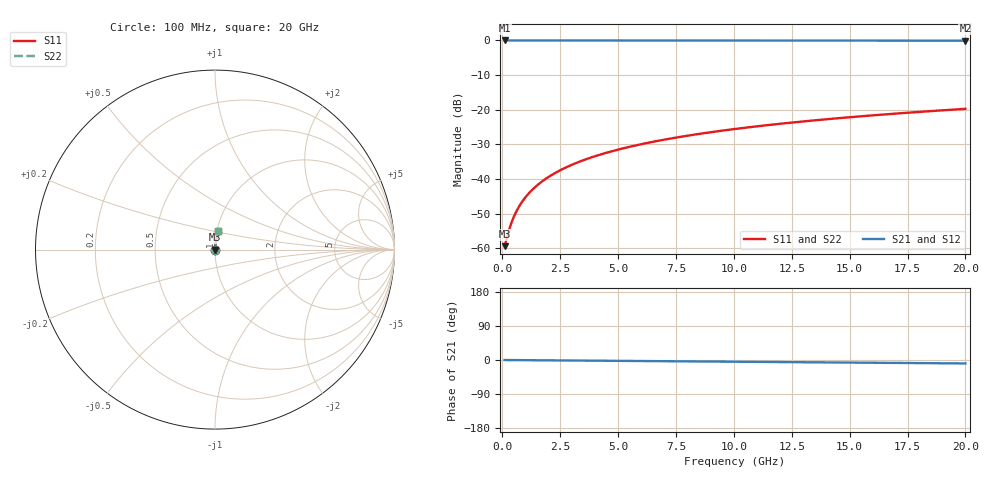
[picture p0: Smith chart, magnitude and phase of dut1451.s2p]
! Touchstone file exported from HFSS 2026.1.0
!  File:  C:/ffzhzh/LocalFiles/Ansys_Project_Files/temp_train_TSV_1451_1783197917_18472.aedt
!  Generated:  04:47:32 AM Jul  5, 2026
!  Design:  TSV
!  Project:  temp_train_TSV_1451_1783197917_18472
! Variables:
!  h_bsmrdl = 2um
!  h_ox = 20um
!  h_rdl = 5um
!  h_sub = 64.01um
!  h_tmrdl = 5um
!  h_tsv = 64.01um
!  h_via = 3um
!  l_bsmrdl = 300um
!  l_sub = 405.72um
!  l_tmrdl = 200um
!  m_sub = 200um
!  pitch = 42.87um
!  r_tsv = 2.86um
!  s_tmrdl = 10um
!  w_bsmrdl = 18um
!  w_sub = 500um
!  w_tmrdl = 12um
!  x_tsv_center1 = 206um
!  x_tsv_center2 = 524um
!  x_tsv_center3 = 736um
!  x_tsv_center4 = 1054um
!  x_tsv_center5 = 1266um
!  x_tsv_center6 = 1584um
# GHz S MA R 50.000000
! Terminal data exported
! Port[1] = TSV1_1_T1
! Port[2] = TSV1_1_T2
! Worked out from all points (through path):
!   200 points, 100 MHz to 20 GHz, reference 50 ohm
!   highest |S21| = -0.01 dB at 100 MHz (marker M1); lowest = -0.1 dB at 20 GHz (marker M2)
!   group delay of S21, straight-line fit = 1.26 ps
!   lowest |S11| = -59.4 dB at 100 MHz (marker M3), VSWR 1.00, Z = 50.1 + j0.0544 ohm
!   |S11| at or under -10 dB: start of sweep to end of sweep
!   |S22| runs from -59.4 to -19.7 dB; largest |S21 - S12| = 3.1e-15
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0.1  0.001072 30.4  0.9991 -0.0  0.9991 -0.0  0.001072 30.4
! Gamma 0 0 0 0
! Port Impedance 50 0 50 0
0.3  0.001874 59.8  0.9991 -0.1  0.9991 -0.1  0.001874 59.8
0.4  0.002356 66.2  0.9991 -0.2  0.9991 -0.2  0.002356 66.2
0.5  0.002856 70.3  0.999 -0.2  0.999 -0.2  0.002856 70.3
0.6  0.003364 73.2  0.999 -0.3  0.999 -0.3  0.003364 73.2
0.7  0.003879 75.3  0.999 -0.3  0.999 -0.3  0.003879 75.3
0.9  0.004918 78.2  0.999 -0.4  0.999 -0.4  0.004918 78.2
1.2  0.006492 80.7  0.999 -0.6  0.999 -0.6  0.006492 80.7
1.4  0.007546 81.8  0.999 -0.6  0.999 -0.6  0.007546 81.8
1.7  0.009131 82.8  0.9989 -0.8  0.9989 -0.8  0.009131 82.8
2.2  0.01178 83.9  0.9989 -1.0  0.9989 -1.0  0.01178 83.9
2.8  0.01495 84.5  0.9988 -1.3  0.9988 -1.3  0.01495 84.5
3.5  0.01865 84.8  0.9987 -1.6  0.9987 -1.6  0.01865 84.8
4.2  0.02234 84.9  0.9985 -1.9  0.9985 -1.9  0.02234 84.9
5  0.02655 84.9  0.9983 -2.3  0.9983 -2.3  0.02655 84.9
5.9  0.03126 84.7  0.9981 -2.7  0.9981 -2.7  0.03126 84.7
6.8  0.03595 84.4  0.9978 -3.1  0.9978 -3.1  0.03595 84.4
8.3  0.04372 83.9  0.9973 -3.8  0.9973 -3.8  0.04372 83.9
10.1  0.05298 83.3  0.9967 -4.6  0.9967 -4.6  0.05298 83.3
13.4  0.0698 82.0  0.9953 -6.1  0.9953 -6.1  0.0698 82.0
16.7  0.08644 80.7  0.9937 -7.6  0.9937 -7.6  0.08644 80.7
20  0.1029 79.3  0.9918 -9.1  0.9918 -9.1  0.1029 79.3
